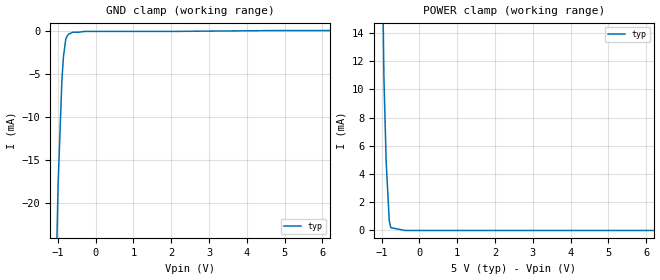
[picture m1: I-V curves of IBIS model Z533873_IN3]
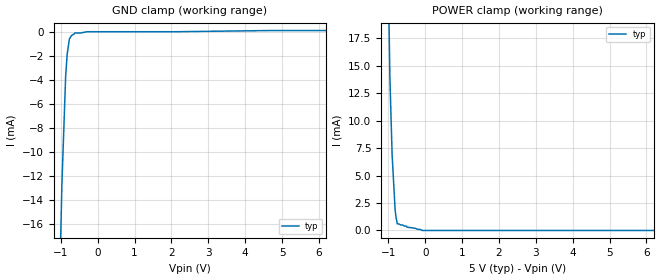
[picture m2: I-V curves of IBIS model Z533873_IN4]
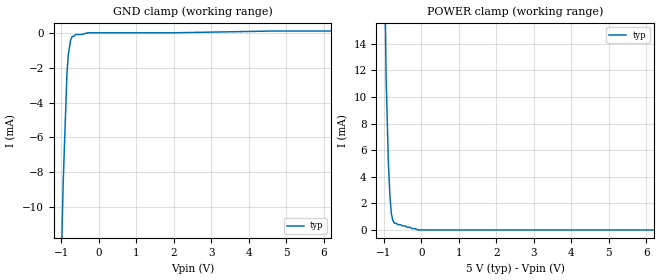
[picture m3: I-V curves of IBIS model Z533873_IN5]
| YOU ARE ONLY AUTHORIZED TO USE THIS SOFTWARE
| ACCORDING TO LICENSOR'S LICENSE RESTRICTIONS.
[IBIS Ver] 3.1
[File Name] mc100el34d_pecl.ibs
[File Rev] 2.0
[Source] Measured and created by ICX Technology
[Date] Friday 7/14/00 9:07:48 AM
[Copyright]
| (C) COPYRIGHT 1993-2000
| MENTOR GRAPHICS CORPORATION
| ICX STANDARD LIBRARY, ICX PROJECT MODELING,
| ICX CUSTOM MODELING, ICX VENDOR MODEL
| ALL RIGHTS RESERVED.
| THE FOLLOWING ARE TRADEMARKS OR SERVICE MARKS OF
| MENTOR GRAPHICS CORPORATION:ICX (R), ICX STANDARD
| LIBRARY(R), ICX PROJECT MODELING(R), ICX CUSTOM
| MODELING(R), qualityIBIS(TM), MODELVIEWER(TM),
| AND MODELEDITOR(TM)
| ALL COPIES OF SOFTWARE, INCLUDING BUT NOT LIMITED TO
| ANY MODIFICATIONS, ENHANCEMENTS OR DERIVATIVE WORKS,
| MUST CONTAIN ALL MENTOR GRAPHICS CORPORATION'S
| NOTICES AND LEGENDS, INCLUDING THOSE EMBEDDED IN
| SOFTWARE AND THOSE AFFIXED TO SOFTWARE MEDIUM
| AND CONTAINER, AS RECEIVED FROM MENTOR GRAPHICS
| CORPORATION.
|  ZAP Model Builder 2.7
[Component] MC100EL34D_PECL
[Manufacturer] OnSemiconductor
[Package]
| variable   typ   min   max
R_pkg  .156ohms NA NA
L_pkg  3.148nH NA NA
C_pkg  .388pF NA NA
[Pin] signal_name  model_name  R_pin  L_pin C_pin
1 Q0 Z533873_OUT1 .162 3.798n .418p
2 _Q0 Z533873_OUT2 .158 3.358n .398p
3 VCC POWER .154 2.928n .378p
4 Q1 Z533873_OUT1 .15 2.508n .358p
5 _Q1 Z533873_OUT2 .15 2.508n .358p
6 VCC POWER .154 2.928n .378p
7 Q2 Z533873_OUT1 .158 3.358n .398p
8 _Q2 Z533873_OUT2 .162 3.798n .418p
9 VEE POWER .162 3.798n .418p
10 MR Z533873_IN3 .158 3.358n .398p
11 VBB POWER .154 2.928n .378p
12 _CLK Z533873_IN4 .15 2.508n .358p
13 CLK Z533873_IN6 .15 2.508n .358p
14 NC NC .154 2.928n .378p
15 _EN Z533873_IN5 .158 3.358n .398p
16 VCC POWER .162 3.798n .418p
| Models and submodels in the file (6): Z533873_IN3 (Input_ECL), Z533873_IN4 (Input_ECL), Z533873_IN5 (Input_ECL), Z533873_IN6 (Input_ECL), Z533873_OUT1 (Output_ECL), Z533873_OUT2 (Output_ECL)
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| (C) COPYRIGHT 1993-2000
| MENTOR GRAPHICS CORPORATION
| ICX STANDARD LIBRARY, ICX PROJECT MODELING,
| ICX CUSTOM MODELING, ICX VENDOR MODEL
| ALL RIGHTS RESERVED.
| THE FOLLOWING ARE TRADEMARKS OR SERVICE MARKS OF
| MENTOR GRAPHICS CORPORATION:ICX (R), ICX STANDARD
| LIBRARY(R), ICX PROJECT MODELING(R), ICX CUSTOM
| MODELING(R), qualityIBIS(TM), MODELVIEWER(TM),
| AND MODELEDITOR(TM)
| ALL COPIES OF SOFTWARE, INCLUDING BUT NOT LIMITED TO
| ANY MODIFICATIONS, ENHANCEMENTS OR DERIVATIVE WORKS,
| MUST CONTAIN ALL MENTOR GRAPHICS CORPORATION'S
| NOTICES AND LEGENDS, INCLUDING THOSE EMBEDDED IN
| SOFTWARE AND THOSE AFFIXED TO SOFTWARE MEDIUM
| AND CONTAINER, AS RECEIVED FROM MENTOR GRAPHICS
| CORPORATION.
| Model Application Version 1.89 2/18/99.
[Model] Z533873_IN3
Model_type Input_ECL
Vinl = 3.525V
Vinh = 3.835V
C_comp 4.000pF NA NA
| variable typ   min   max
[Voltage Range] 5.000V NA NA
[GND Clamp Reference] 0.000V NA NA
[POWER Clamp Reference] 5.000V NA NA
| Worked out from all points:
|   GND clamp passes 1 mA (typ) near -0.79 V on its own axis
|   POWER clamp passes 1 mA (typ) near -0.80 V on its own axis
[GND Clamp]
-5V       -1.056A    NA         NA
-1.094V   -38.1mA    NA         NA
-993mV    -17.8mA    NA         NA
-892mV    -5.6mA     NA         NA
-851mV    -2.9mA     NA         NA
-790mV    -900uA     NA         NA
-750mV    -500uA     NA         NA
-709mV    -300uA     NA         NA
-617.8mV  -100uA     NA         NA
-293.8mV  0A         NA         NA
4.723V    100uA      NA         NA
10V       100uA      NA         NA
[POWER Clamp]
-5V       1.487A     NA         NA
-1.203V   79.2mA     NA         NA
-1.061V   36.9mA     NA         NA
-939mV    10.9mA     NA         NA
-879mV    4.9mA      NA         NA
-798mV    700uA      NA         NA
-757mV    200uA      NA         NA
-378.5mV  0A         NA         NA
10V       0A         NA         NA
| (C) COPYRIGHT 1993-2000
| MENTOR GRAPHICS CORPORATION
| ICX STANDARD LIBRARY, ICX PROJECT MODELING,
| ICX CUSTOM MODELING, ICX VENDOR MODEL
| ALL RIGHTS RESERVED.
| THE FOLLOWING ARE TRADEMARKS OR SERVICE MARKS OF
| MENTOR GRAPHICS CORPORATION:ICX (R), ICX STANDARD
| LIBRARY(R), ICX PROJECT MODELING(R), ICX CUSTOM
| MODELING(R), qualityIBIS(TM), MODELVIEWER(TM),
| AND MODELEDITOR(TM)
| ALL COPIES OF SOFTWARE, INCLUDING BUT NOT LIMITED TO
| ANY MODIFICATIONS, ENHANCEMENTS OR DERIVATIVE WORKS,
| MUST CONTAIN ALL MENTOR GRAPHICS CORPORATION'S
| NOTICES AND LEGENDS, INCLUDING THOSE EMBEDDED IN
| SOFTWARE AND THOSE AFFIXED TO SOFTWARE MEDIUM
| AND CONTAINER, AS RECEIVED FROM MENTOR GRAPHICS
| CORPORATION.
| Model Application Version 1.89 2/18/99.
[Model] Z533873_IN4
Model_type Input_ECL
Vinl = 3.525V
Vinh = 3.835V
C_comp 4.000pF NA NA
| variable typ   min   max
[Voltage Range] 5.000V NA NA
[GND Clamp Reference] 0.000V NA NA
[POWER Clamp Reference] 5.000V NA NA
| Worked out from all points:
|   GND clamp passes 1 mA (typ) near -0.79 V on its own axis
|   POWER clamp passes 1 mA (typ) near -0.78 V on its own axis
[GND Clamp]
-5V       -734.2mA   NA         NA
-1.074V   -26.4mA    NA         NA
-973mV    -12.7mA    NA         NA
-871mV    -3.7mA     NA         NA
-831mV    -1.9mA     NA         NA
-770mV    -600uA     NA         NA
-709mV    -300uA     NA         NA
-617.8mV  -100uA     NA         NA
-455.8mV  -100uA     NA         NA
-293.8mV  0A         NA         NA
4.703V    100uA      NA         NA
10V       100uA      NA         NA
[POWER Clamp]
-5V       1.476A     NA         NA
-1.081V   39.9mA     NA         NA
-960mV    14mA       NA         NA
-899mV    6.9mA      NA         NA
-818mV    1.9mA      NA         NA
-798mV    1.3mA      NA         NA
-757mV    600uA      NA         NA
-514mV    400uA      NA         NA
-493mV    300uA      NA         NA
-270mV    200uA      NA         NA
-74.5mV   0A         NA         NA
10V       0A         NA         NA
| (C) COPYRIGHT 1993-2000
| MENTOR GRAPHICS CORPORATION
| ICX STANDARD LIBRARY, ICX PROJECT MODELING,
| ICX CUSTOM MODELING, ICX VENDOR MODEL
| ALL RIGHTS RESERVED.
| THE FOLLOWING ARE TRADEMARKS OR SERVICE MARKS OF
| MENTOR GRAPHICS CORPORATION:ICX (R), ICX STANDARD
| LIBRARY(R), ICX PROJECT MODELING(R), ICX CUSTOM
| MODELING(R), qualityIBIS(TM), MODELVIEWER(TM),
| AND MODELEDITOR(TM)
| ALL COPIES OF SOFTWARE, INCLUDING BUT NOT LIMITED TO
| ANY MODIFICATIONS, ENHANCEMENTS OR DERIVATIVE WORKS,
| MUST CONTAIN ALL MENTOR GRAPHICS CORPORATION'S
| NOTICES AND LEGENDS, INCLUDING THOSE EMBEDDED IN
| SOFTWARE AND THOSE AFFIXED TO SOFTWARE MEDIUM
| AND CONTAINER, AS RECEIVED FROM MENTOR GRAPHICS
| CORPORATION.
| Model Application Version 1.89 2/18/99.
[Model] Z533873_IN5
Model_type Input_ECL
Vinl = 3.525V
Vinh = 3.835V
C_comp 4.000pF NA NA
| variable typ   min   max
[Voltage Range] 5.000V NA NA
[GND Clamp Reference] 0.000V NA NA
[POWER Clamp Reference] 5.000V NA NA
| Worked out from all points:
|   GND clamp passes 1 mA (typ) near -0.80 V on its own axis
|   POWER clamp passes 1 mA (typ) near -0.78 V on its own axis
[GND Clamp]
-5V       -493.2mA   NA         NA
-1.054V   -18.2mA    NA         NA
-952mV    -8.7mA     NA         NA
-851mV    -2.4mA     NA         NA
-811mV    -1.2mA     NA         NA
-750mV    -400uA     NA         NA
-704.3mV  -200uA     NA         NA
-663.6mV  -200uA     NA         NA
-623mV    -100uA     NA         NA
-293.8mV  0A         NA         NA
4.642V    100uA      NA         NA
10V       100uA      NA         NA
[POWER Clamp]
-5V       1.456A     NA         NA
-1.061V   38.5mA     NA         NA
-939mV    11.5mA     NA         NA
-879mV    5.1mA      NA         NA
-838mV    2.6mA      NA         NA
-798mV    1.2mA      NA         NA
-757mV    700uA      NA         NA
-716.5mV  500uA      NA         NA
-84.5mV   0A         NA         NA
10V       0A         NA         NA
